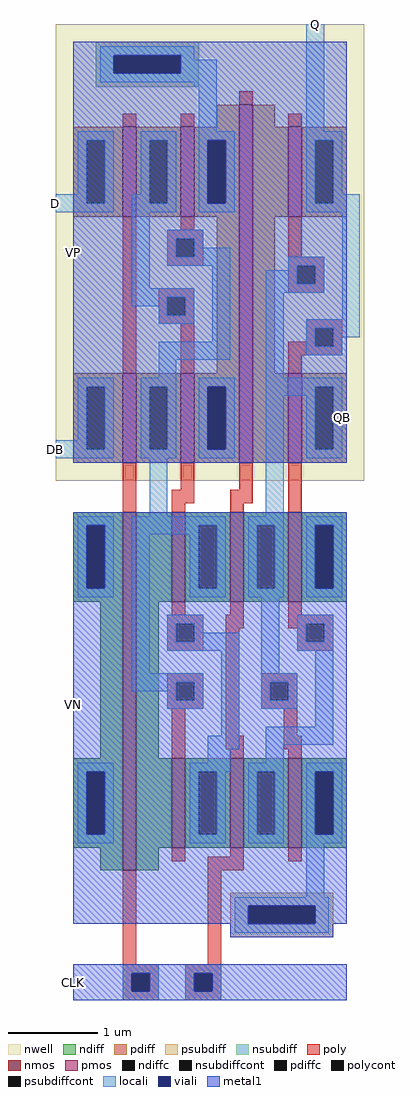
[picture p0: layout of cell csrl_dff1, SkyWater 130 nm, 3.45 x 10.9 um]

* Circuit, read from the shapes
.subckt csrl_dff1 D DB Q QB CLK VP VN
XM1 n1 CLK VN VN sky130_fd_pr__nfet_01v8 w=4 l=0.15
XM2 n2 n3 n1 VN sky130_fd_pr__nfet_01v8 w=1 l=0.15
XM3 n3 n2 n1 VN sky130_fd_pr__nfet_01v8 w=1 l=0.15
XM4 Q CLK n2 VN sky130_fd_pr__nfet_01v8 w=1 l=0.15
XM5 QB CLK n3 VN sky130_fd_pr__nfet_01v8 w=1 l=0.15
XM6 VN QB Q VN sky130_fd_pr__nfet_01v8 w=1 l=0.15
XM7 VN Q QB VN sky130_fd_pr__nfet_01v8 w=1 l=0.15
XM8 n3 CLK DB VP sky130_fd_pr__pfet_01v8 w=1 l=0.15
XM9 n2 CLK D VP sky130_fd_pr__pfet_01v8 w=1 l=0.15
XM10 VP n2 n3 VP sky130_fd_pr__pfet_01v8 w=1 l=0.15
XM11 VP n3 n2 VP sky130_fd_pr__pfet_01v8 w=1 l=0.15
XM12 n4 CLK VP VP sky130_fd_pr__pfet_01v8 w=4 l=0.15
XM13 QB Q n4 VP sky130_fd_pr__pfet_01v8 w=1 l=0.15
XM14 Q QB n4 VP sky130_fd_pr__pfet_01v8 w=1 l=0.15
.ends

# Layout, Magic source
magic
tech sky130A
<< nwell >>
rect -565 295 -220 805
<< nmos >>
rect -490 -140 -475 260
rect -435 160 -420 260
rect -370 160 -355 260
rect -305 160 -290 260
rect -435 -115 -420 -15
rect -370 -115 -355 -15
rect -305 -115 -290 -15
<< pmos >>
rect -490 590 -475 690
rect -425 590 -410 690
rect -490 315 -475 415
rect -425 315 -410 415
rect -360 315 -345 715
rect -305 590 -290 690
rect -305 315 -290 415
<< ndiff >>
rect -545 245 -490 260
rect -545 175 -530 245
rect -510 175 -490 245
rect -545 160 -490 175
rect -515 -15 -490 160
rect -545 -30 -490 -15
rect -545 -100 -530 -30
rect -510 -100 -490 -30
rect -545 -115 -490 -100
rect -515 -140 -490 -115
rect -475 160 -435 260
rect -420 245 -370 260
rect -420 175 -405 245
rect -385 175 -370 245
rect -420 160 -370 175
rect -355 245 -305 260
rect -355 175 -340 245
rect -320 175 -305 245
rect -355 160 -305 175
rect -290 245 -240 260
rect -290 175 -275 245
rect -255 175 -240 245
rect -290 160 -240 175
rect -475 -15 -450 160
rect -475 -115 -435 -15
rect -420 -30 -370 -15
rect -420 -100 -405 -30
rect -385 -100 -370 -30
rect -420 -115 -370 -100
rect -355 -30 -305 -15
rect -355 -100 -340 -30
rect -320 -100 -305 -30
rect -355 -115 -305 -100
rect -290 -30 -240 -15
rect -290 -100 -275 -30
rect -255 -100 -240 -30
rect -290 -115 -240 -100
rect -475 -140 -450 -115
<< pdiff >>
rect -385 690 -360 715
rect -545 675 -490 690
rect -545 605 -530 675
rect -510 605 -490 675
rect -545 590 -490 605
rect -475 675 -425 690
rect -475 605 -460 675
rect -440 605 -425 675
rect -475 590 -425 605
rect -410 675 -360 690
rect -410 605 -395 675
rect -375 605 -360 675
rect -410 590 -360 605
rect -385 415 -360 590
rect -545 400 -490 415
rect -545 330 -530 400
rect -510 330 -490 400
rect -545 315 -490 330
rect -475 400 -425 415
rect -475 330 -460 400
rect -440 330 -425 400
rect -475 315 -425 330
rect -410 400 -360 415
rect -410 330 -395 400
rect -375 330 -360 400
rect -410 315 -360 330
rect -345 690 -320 715
rect -345 590 -305 690
rect -290 675 -240 690
rect -290 605 -275 675
rect -255 605 -240 675
rect -290 590 -240 605
rect -345 415 -320 590
rect -345 315 -305 415
rect -290 400 -240 415
rect -290 330 -275 400
rect -255 330 -240 400
rect -290 315 -240 330
<< ndiffc >>
rect -530 175 -510 245
rect -530 -100 -510 -30
rect -405 175 -385 245
rect -340 175 -320 245
rect -275 175 -255 245
rect -405 -100 -385 -30
rect -340 -100 -320 -30
rect -275 -100 -255 -30
<< pdiffc >>
rect -530 605 -510 675
rect -460 605 -440 675
rect -395 605 -375 675
rect -530 330 -510 400
rect -460 330 -440 400
rect -395 330 -375 400
rect -275 605 -255 675
rect -275 330 -255 400
<< psubdiff >>
rect -370 -180 -255 -165
rect -370 -200 -350 -180
rect -275 -200 -255 -180
rect -370 -215 -255 -200
<< nsubdiff >>
rect -520 770 -405 785
rect -520 750 -500 770
rect -425 750 -405 770
rect -520 735 -405 750
<< psubdiffcont >>
rect -350 -200 -275 -180
<< nsubdiffcont >>
rect -500 750 -425 770
<< poly >>
rect -360 715 -345 730
rect -490 690 -475 705
rect -425 690 -410 705
rect -490 415 -475 590
rect -425 575 -410 590
rect -440 565 -400 575
rect -440 545 -430 565
rect -410 545 -400 565
rect -440 535 -400 545
rect -450 500 -410 510
rect -450 480 -440 500
rect -420 480 -410 500
rect -450 470 -410 480
rect -425 415 -410 470
rect -305 690 -290 705
rect -305 545 -290 590
rect -305 535 -265 545
rect -305 515 -295 535
rect -275 515 -265 535
rect -305 505 -265 515
rect -285 465 -245 475
rect -285 450 -275 465
rect -305 445 -275 450
rect -255 445 -245 465
rect -305 435 -245 445
rect -305 415 -290 435
rect -490 260 -475 315
rect -425 285 -410 315
rect -360 285 -345 315
rect -435 270 -410 285
rect -370 270 -345 285
rect -435 260 -420 270
rect -370 260 -355 270
rect -305 260 -290 315
rect -435 145 -420 160
rect -370 145 -355 160
rect -440 135 -400 145
rect -440 115 -430 135
rect -410 115 -400 135
rect -440 105 -400 115
rect -375 130 -355 145
rect -305 145 -290 160
rect -305 135 -255 145
rect -305 130 -285 135
rect -440 70 -400 80
rect -440 50 -430 70
rect -410 50 -400 70
rect -440 40 -400 50
rect -435 -15 -420 40
rect -375 10 -360 130
rect -295 115 -285 130
rect -265 115 -255 135
rect -295 105 -255 115
rect -335 70 -295 80
rect -335 50 -325 70
rect -305 50 -295 70
rect -335 40 -295 50
rect -310 10 -295 40
rect -375 -5 -355 10
rect -310 -5 -290 10
rect -370 -15 -355 -5
rect -305 -15 -290 -5
rect -435 -130 -420 -115
rect -370 -125 -355 -115
rect -395 -140 -355 -125
rect -305 -130 -290 -115
rect -490 -245 -475 -140
rect -395 -245 -380 -140
rect -490 -255 -450 -245
rect -490 -275 -480 -255
rect -460 -275 -450 -255
rect -490 -285 -450 -275
rect -420 -255 -380 -245
rect -420 -275 -410 -255
rect -390 -275 -380 -255
rect -420 -285 -380 -275
<< polycont >>
rect -430 545 -410 565
rect -440 480 -420 500
rect -295 515 -275 535
rect -275 445 -255 465
rect -430 115 -410 135
rect -430 50 -410 70
rect -285 115 -265 135
rect -325 50 -305 70
rect -480 -275 -460 -255
rect -410 -275 -390 -255
<< locali >>
rect -515 770 -410 780
rect -515 750 -500 770
rect -425 765 -410 770
rect -425 750 -385 765
rect -515 740 -385 750
rect -410 735 -385 740
rect -405 685 -385 735
rect -285 685 -265 805
rect -540 675 -500 685
rect -540 615 -530 675
rect -565 605 -530 615
rect -510 605 -500 675
rect -470 675 -430 685
rect -470 615 -460 675
rect -565 595 -500 605
rect -480 605 -460 615
rect -440 605 -430 675
rect -480 595 -430 605
rect -405 675 -365 685
rect -405 605 -395 675
rect -375 605 -365 675
rect -405 595 -365 605
rect -285 675 -245 685
rect -285 605 -275 675
rect -255 615 -245 675
rect -255 605 -225 615
rect -285 595 -225 605
rect -480 510 -460 595
rect -440 565 -400 575
rect -440 545 -430 565
rect -410 555 -400 565
rect -410 545 -370 555
rect -440 535 -370 545
rect -480 500 -410 510
rect -480 490 -440 500
rect -450 480 -440 490
rect -420 480 -410 500
rect -450 470 -410 480
rect -390 450 -370 535
rect -305 535 -265 545
rect -305 530 -295 535
rect -450 430 -370 450
rect -330 515 -295 530
rect -275 515 -265 535
rect -330 505 -265 515
rect -450 410 -430 430
rect -330 410 -310 505
rect -245 475 -225 595
rect -285 465 -225 475
rect -285 445 -275 465
rect -255 455 -225 465
rect -255 445 -245 455
rect -285 435 -245 445
rect -540 400 -500 410
rect -540 340 -530 400
rect -565 330 -530 340
rect -510 330 -500 400
rect -565 320 -500 330
rect -470 400 -430 410
rect -470 330 -460 400
rect -440 330 -430 400
rect -470 320 -430 330
rect -405 400 -365 410
rect -405 330 -395 400
rect -375 330 -365 400
rect -405 320 -365 330
rect -330 400 -245 410
rect -330 390 -275 400
rect -460 255 -440 320
rect -330 255 -310 390
rect -285 330 -275 390
rect -255 330 -245 400
rect -285 320 -245 330
rect -540 245 -500 255
rect -540 175 -530 245
rect -510 175 -500 245
rect -540 165 -500 175
rect -480 245 -375 255
rect -480 235 -405 245
rect -480 80 -460 235
rect -415 175 -405 235
rect -385 175 -375 245
rect -415 165 -375 175
rect -350 245 -310 255
rect -350 175 -340 245
rect -320 175 -310 245
rect -350 165 -310 175
rect -285 245 -245 255
rect -285 175 -275 245
rect -255 175 -245 245
rect -285 165 -245 175
rect -440 135 -400 145
rect -440 115 -430 135
rect -410 125 -400 135
rect -410 115 -360 125
rect -440 105 -360 115
rect -480 70 -400 80
rect -480 60 -430 70
rect -440 50 -430 60
rect -410 50 -400 70
rect -440 40 -400 50
rect -380 10 -360 105
rect -335 80 -315 165
rect -295 135 -255 145
rect -295 115 -285 135
rect -265 115 -255 135
rect -295 105 -255 115
rect -335 70 -295 80
rect -335 50 -325 70
rect -305 50 -295 70
rect -335 40 -295 50
rect -275 20 -255 105
rect -395 -5 -360 10
rect -330 0 -255 20
rect -395 -20 -370 -5
rect -330 -20 -310 0
rect -540 -30 -500 -20
rect -540 -100 -530 -30
rect -510 -100 -500 -30
rect -540 -110 -500 -100
rect -415 -30 -370 -20
rect -350 -30 -310 -20
rect -415 -100 -405 -30
rect -385 -100 -375 -30
rect -415 -110 -375 -100
rect -350 -100 -340 -30
rect -320 -100 -310 -30
rect -350 -110 -310 -100
rect -285 -30 -245 -20
rect -285 -100 -275 -30
rect -255 -100 -245 -30
rect -285 -110 -245 -100
rect -285 -170 -265 -110
rect -365 -180 -260 -170
rect -365 -200 -350 -180
rect -275 -200 -260 -180
rect -365 -210 -260 -200
rect -490 -255 -450 -245
rect -490 -275 -480 -255
rect -460 -275 -450 -255
rect -490 -285 -450 -275
rect -420 -255 -380 -245
rect -420 -275 -410 -255
rect -390 -275 -380 -255
rect -420 -285 -380 -275
<< viali >>
rect -500 750 -425 770
rect -395 605 -375 675
rect -395 330 -375 400
rect -530 175 -510 245
rect -275 175 -255 245
rect -530 -100 -510 -30
rect -275 -100 -255 -30
rect -350 -200 -275 -180
rect -480 -275 -460 -255
rect -410 -275 -390 -255
<< metal1 >>
rect -545 770 -240 785
rect -545 750 -500 770
rect -425 750 -240 770
rect -545 675 -240 750
rect -545 605 -395 675
rect -375 605 -240 675
rect -545 400 -240 605
rect -545 330 -395 400
rect -375 330 -240 400
rect -545 315 -240 330
rect -545 245 -240 260
rect -545 175 -530 245
rect -510 175 -275 245
rect -255 175 -240 245
rect -545 -30 -240 175
rect -545 -100 -530 -30
rect -510 -100 -275 -30
rect -255 -100 -240 -30
rect -545 -180 -240 -100
rect -545 -200 -350 -180
rect -275 -200 -240 -180
rect -370 -215 -255 -200
rect -545 -255 -240 -245
rect -545 -275 -480 -255
rect -460 -275 -410 -255
rect -390 -275 -240 -255
rect -545 -285 -240 -275
<< labels >>
rlabel metal1 -545 550 -545 550 7 VP
port 6 w
rlabel metal1 -545 45 -545 45 7 VN
port 7 w
rlabel locali -565 605 -565 605 7 D
port 1 w
rlabel locali -565 330 -565 330 7 DB
port 2 w
rlabel locali -275 805 -275 805 1 Q
port 3 n
rlabel locali -245 365 -245 365 3 QB
port 4 e
rlabel metal1 -545 -265 -545 -265 1 CLK
port 5 n
<< end >>
